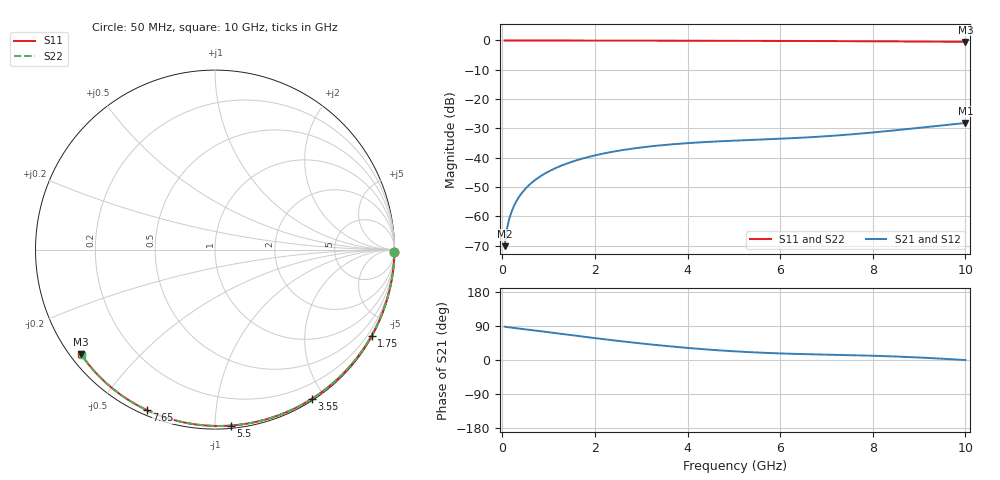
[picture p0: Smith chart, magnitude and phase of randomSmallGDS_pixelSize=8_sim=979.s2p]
! freq	dB(S11)	phase(S11)	dB(S12)	phase(S12)
!  dB(S21)	phase(S21)	dB(S22)	phase(S22)
!S-par simulation data
#  GHz  S  DB  R 50
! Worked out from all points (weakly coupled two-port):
!   200 points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, 50 MHz to 10 GHz, reference 50 ohm
!   highest |S21| = -28.17 dB at 10 GHz (marker M1); lowest = -70.2 dB at 50 MHz (marker M2)
!   lowest |S11| = -0.5 dB at 10 GHz (marker M3), VSWR 36.93, Z = 1.51 - j17.2 ohm
!   |S11| at or under -10 dB: nowhere
!   |S22| runs from -0.5 to 0.0 dB; largest |S21 - S12| = 0
!   S11 on the Smith chart (normalised r, x): 50 MHz: open; 1.75 GHz: 0.03, -3.89; 3.55 GHz: 0.02, -1.85; 5.5 GHz: 0.02, -1.09; 7.65 GHz: 0.02, -0.66; 10 GHz: 0.03, -0.34
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0.05  -0.00 -0.8  -70.20 88.0  -70.20 88.0  -0.00 -0.8
0.1  -0.00 -1.7  -64.32 86.8  -64.32 86.8  -0.00 -1.7
0.15  -0.00 -2.5  -60.89 86.1  -60.89 86.1  -0.00 -2.5
0.2  -0.00 -3.4  -58.44 85.5  -58.44 85.5  -0.00 -3.3
0.25  -0.00 -4.2  -56.54 84.8  -56.54 84.8  -0.00 -4.2
0.35  -0.00 -5.9  -53.66 83.4  -53.66 83.4  -0.00 -5.8
0.5  -0.01 -8.4  -50.60 81.2  -50.60 81.2  -0.01 -8.3
0.7  -0.01 -11.7  -47.73 78.0  -47.73 78.0  -0.01 -11.6
1  -0.02 -16.6  -44.72 73.3  -44.72 73.3  -0.02 -16.6
1.35  -0.03 -22.3  -42.26 67.8  -42.26 67.8  -0.03 -22.3
1.75  -0.04 -28.8  -40.22 61.5  -40.22 61.5  -0.04 -28.7
2.5  -0.05 -40.7  -37.66 50.5  -37.66 50.5  -0.05 -40.6
3.4  -0.07 -54.6  -35.82 38.6  -35.82 38.6  -0.07 -54.5
3.55  -0.08 -56.9  -35.60 36.8  -35.60 36.8  -0.08 -56.8
4.3  -0.10 -68.0  -34.74 28.9  -34.74 28.9  -0.10 -67.8
5.05  -0.12 -78.7  -34.16 22.6  -34.16 22.6  -0.12 -78.5
5.5  -0.14 -84.9  -33.87 19.8  -33.87 19.8  -0.14 -84.7
6.7  -0.19 -100.9  -32.98 15.0  -32.98 15.0  -0.19 -100.7
7.65  -0.25 -113.1  -31.90 12.4  -31.90 12.4  -0.25 -112.8
8.35  -0.31 -121.8  -30.87 9.9  -30.87 9.9  -0.31 -121.5
9.2  -0.38 -132.2  -29.49 5.4  -29.49 5.4  -0.38 -131.9
10  -0.47 -141.9  -28.17 -0.1  -28.17 -0.1  -0.47 -141.6
